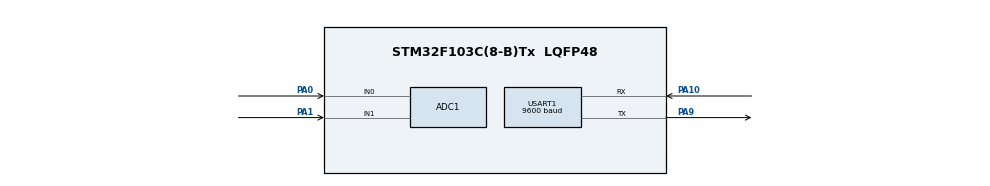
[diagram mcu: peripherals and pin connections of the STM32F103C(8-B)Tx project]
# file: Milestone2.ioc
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ADC1.Channel-0\#ChannelRegularConversion=ADC_CHANNEL_1
ADC1.NbrOfConversionFlag=1
ADC1.Rank-0\#ChannelRegularConversion=1
ADC1.SamplingTime-0\#ChannelRegularConversion=ADC_SAMPLETIME_1CYCLE_5
ADC1.master=1
Mcu.Family=STM32F1
Mcu.Name=STM32F103C(8-B)Tx
Mcu.Package=LQFP48
NVIC.PriorityGroup=NVIC_PRIORITYGROUP_4
PA0-WKUP.Signal=ADCx_IN0
PA1.Signal=ADCx_IN1
PA10.Mode=Asynchronous
PA10.Signal=USART1_RX
PA9.Mode=Asynchronous
PA9.Signal=USART1_TX
ProjectManager.HeapSize=0x200
ProjectManager.StackSize=0x400
ProjectManager.TargetToolchain=STM32CubeIDE
RCC.APB1Freq_Value=8000000
RCC.APB2Freq_Value=8000000
SH.ADCx_IN0.0=ADC1_IN0,IN0
SH.ADCx_IN1.0=ADC1_IN1,IN1
USART1.BaudRate=9600
USART1.VirtualMode=VM_ASYNC
VP_SYS_VS_ND.Mode=No_Debug
board=custom

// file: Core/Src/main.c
/* USER CODE BEGIN Header */
/**
  ******************************************************************************
  * @file           : main.c
  * @brief          : Main program body
  ******************************************************************************
  * @attention
  *
  * Copyright (c) 2026 STMicroelectronics.
  * All rights reserved.
  *
  * This software is licensed under terms that can be found in the LICENSE file
  * in the root directory of this software component.
  * If no LICENSE file comes with this software, it is provided AS-IS.
  *
  ******************************************************************************
  */
/* USER CODE END Header */
#include "main.h"

/* USER CODE BEGIN Includes */
#include <stdio.h>
#include <string.h>
/* USER CODE END Includes */

ADC_HandleTypeDef hadc1;

UART_HandleTypeDef huart1;

void SystemClock_Config(void);
static void MX_GPIO_Init(void);
static void MX_ADC1_Init(void);
static void MX_USART1_UART_Init(void);

int main(void)
{

  /* USER CODE BEGIN 1 */
ADC_ChannelConfTypeDef sConfig = {0};
uint32_t raw_temp = 0;
uint32_t raw_throttle = 0;
uint32_t throttle_per = 0;
uint32_t engine_temp = 0;
char msg[64];
  /* USER CODE END 1 */

  /* MCU Configuration--------------------------------------------------------*/

  /* Reset of all peripherals, Initializes the Flash interface and the Systick. */
  HAL_Init();

  /* Configure the system clock */
  SystemClock_Config();

  /* Initialize all configured peripherals */
  MX_GPIO_Init();
  MX_ADC1_Init();
  MX_USART1_UART_Init();

  /* Infinite loop */
  while (1)
  {

    /* USER CODE BEGIN 3 */
	  sConfig.Channel = ADC_CHANNEL_0;
	  sConfig.Rank = ADC_REGULAR_RANK_1;
	  sConfig.SamplingTime = ADC_SAMPLETIME_55CYCLES_5;
	  HAL_ADC_ConfigChannel(&hadc1, &sConfig);
	  HAL_ADC_Start(&hadc1);
	  if(HAL_ADC_PollForConversion(&hadc1, 100) == HAL_OK ) {
        raw_temp = HAL_ADC_GetValue(&hadc1);
	  }
	  HAL_ADC_Stop(&hadc1);

	  sConfig.Channel = ADC_CHANNEL_1;
	  sConfig.Rank = ADC_REGULAR_RANK_1;
	  sConfig.SamplingTime = ADC_SAMPLETIME_55CYCLES_5;
	  HAL_ADC_ConfigChannel(&hadc1, &sConfig);
	  HAL_ADC_Start(&hadc1);
	  if(HAL_ADC_PollForConversion(&hadc1, 100) == HAL_OK){
		  raw_throttle = HAL_ADC_GetValue(&hadc1);
	  }
	  HAL_ADC_Stop(&hadc1);

	  engine_temp = (raw_temp * 150) / 4095;
	  throttle_per = (raw_throttle * 100) / 4095;

	  sprintf(msg, "Engine Temp = %lu C | Throttle = %lu %%\r\n", engine_temp, throttle_per);
	      HAL_UART_Transmit(&huart1, (uint8_t*)msg, strlen(msg), 100);

	      HAL_Delay(500);
  }
  /* USER CODE END 3 */
}

void SystemClock_Config(void)
{
  RCC_OscInitTypeDef RCC_OscInitStruct = {0};
  RCC_ClkInitTypeDef RCC_ClkInitStruct = {0};
  RCC_PeriphCLKInitTypeDef PeriphClkInit = {0};

  /** Initializes the RCC Oscillators according to the specified parameters
  * in the RCC_OscInitTypeDef structure.
  */
  RCC_OscInitStruct.OscillatorType = RCC_OSCILLATORTYPE_HSI;
  RCC_OscInitStruct.HSIState = RCC_HSI_ON;
  RCC_OscInitStruct.HSICalibrationValue = RCC_HSICALIBRATION_DEFAULT;
  RCC_OscInitStruct.PLL.PLLState = RCC_PLL_NONE;
  if (HAL_RCC_OscConfig(&RCC_OscInitStruct) != HAL_OK)
  {
    Error_Handler();
  }

  /** Initializes the CPU, AHB and APB buses clocks
  */
  RCC_ClkInitStruct.ClockType = RCC_CLOCKTYPE_HCLK|RCC_CLOCKTYPE_SYSCLK
                              |RCC_CLOCKTYPE_PCLK1|RCC_CLOCKTYPE_PCLK2;
  RCC_ClkInitStruct.SYSCLKSource = RCC_SYSCLKSOURCE_HSI;
  RCC_ClkInitStruct.AHBCLKDivider = RCC_SYSCLK_DIV1;
  RCC_ClkInitStruct.APB1CLKDivider = RCC_HCLK_DIV1;
  RCC_ClkInitStruct.APB2CLKDivider = RCC_HCLK_DIV1;

  if (HAL_RCC_ClockConfig(&RCC_ClkInitStruct, FLASH_LATENCY_0) != HAL_OK)
  {
    Error_Handler();
  }
  PeriphClkInit.PeriphClockSelection = RCC_PERIPHCLK_ADC;
  PeriphClkInit.AdcClockSelection = RCC_ADCPCLK2_DIV2;
  if (HAL_RCCEx_PeriphCLKConfig(&PeriphClkInit) != HAL_OK)
  {
    Error_Handler();
  }
}

static void MX_ADC1_Init(void)
{

  ADC_ChannelConfTypeDef sConfig = {0};

  /** Common config
  */
  hadc1.Instance = ADC1;
  hadc1.Init.ScanConvMode = ADC_SCAN_DISABLE;
  hadc1.Init.ContinuousConvMode = DISABLE;
  hadc1.Init.DiscontinuousConvMode = DISABLE;
  hadc1.Init.ExternalTrigConv = ADC_SOFTWARE_START;
  hadc1.Init.DataAlign = ADC_DATAALIGN_RIGHT;
  hadc1.Init.NbrOfConversion = 1;
  if (HAL_ADC_Init(&hadc1) != HAL_OK)
  {
    Error_Handler();
  }

  /** Configure Regular Channel
  */
  sConfig.Channel = ADC_CHANNEL_1;
  sConfig.Rank = ADC_REGULAR_RANK_1;
  sConfig.SamplingTime = ADC_SAMPLETIME_1CYCLE_5;
  if (HAL_ADC_ConfigChannel(&hadc1, &sConfig) != HAL_OK)
  {
    Error_Handler();
  }

}

static void MX_USART1_UART_Init(void)
{

  huart1.Instance = USART1;
  huart1.Init.BaudRate = 9600;
  huart1.Init.WordLength = UART_WORDLENGTH_8B;
  huart1.Init.StopBits = UART_STOPBITS_1;
  huart1.Init.Parity = UART_PARITY_NONE;
  huart1.Init.Mode = UART_MODE_TX_RX;
  huart1.Init.HwFlowCtl = UART_HWCONTROL_NONE;
  huart1.Init.OverSampling = UART_OVERSAMPLING_16;
  if (HAL_UART_Init(&huart1) != HAL_OK)
  {
    Error_Handler();
  }

}

static void MX_GPIO_Init(void)
{

  /* GPIO Ports Clock Enable */
  __HAL_RCC_GPIOA_CLK_ENABLE();

}

void Error_Handler(void)
{
  __disable_irq();
  while (1)
  {
  }
}
